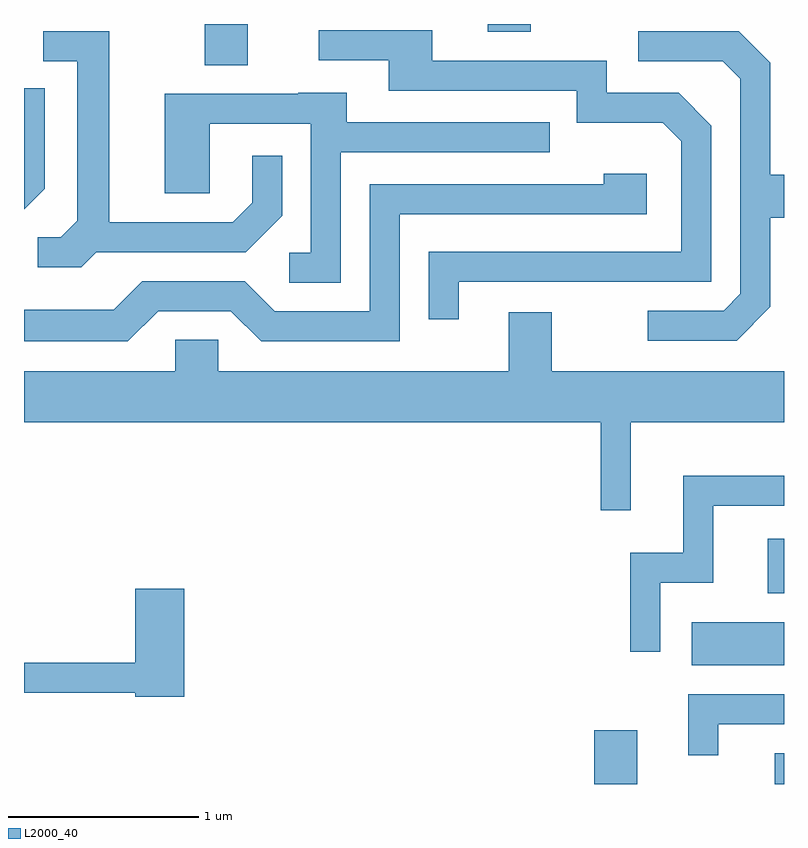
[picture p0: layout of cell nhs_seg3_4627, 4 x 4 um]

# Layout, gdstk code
import gdstk
lib = gdstk.Library(unit=1e-6, precision=1e-09)
def R(c, l, rs):  # rectangles x0, y0, x1, y1
    for r in rs: c.add(gdstk.rectangle(r[:2], r[2:], *l))
def P(c, l, *ps):  # polygons
    for p in ps: c.add(gdstk.Polygon(p, *l))
L2000_40 = (2000, 40)

nhs_seg3_4627 = lib.new_cell('nhs_seg3_4627')
R(nhs_seg3_4627, L2000_40, [(324.611,1121.892,324.839,1122.174), (325.561,1121.892,325.611,1122.054), (325.126,1122.516,325.611,1122.744), (325.526,1122.896,325.611,1123.184), (322.561,1125.676,322.789,1125.892), (324.051,1125.851,324.279,1125.892)])
P(nhs_seg3_4627, L2000_40, [(323.899,1124.536),(325.229,1124.536),(325.229,1125.357),(325.057,1125.529),(324.679,1125.529),(324.679,1125.699),(323.759,1125.699),(323.759,1125.859),(323.163,1125.859),(323.163,1125.701),(323.531,1125.701),(323.531,1125.541),(324.521,1125.541),(324.521,1125.371),(324.974,1125.371),(325.071,1125.274),(325.071,1124.694),(323.741,1124.694),(323.741,1124.338),(323.899,1124.338)],
  [(321.992,1124.691),(322.777,1124.691),(322.969,1124.884),(322.969,1125.198),(322.811,1125.198),(322.811,1124.952),(322.709,1124.849),(322.059,1124.849),(322.059,1125.854),(321.713,1125.854),(321.713,1125.696),(321.891,1125.696),(321.891,1124.857),(321.804,1124.769),(321.683,1124.769),(321.683,1124.611),(321.912,1124.611)],
  [(325.539,1124.404),(325.539,1124.871),(325.611,1124.871),(325.611,1125.099),(325.539,1125.099),(325.539,1125.687),(325.372,1125.854),(324.843,1125.854),(324.843,1125.696),(325.289,1125.696),(325.381,1125.604),(325.381,1124.472),(325.294,1124.384),(324.893,1124.384),(324.893,1124.226),(325.362,1124.226)],
  [(321.719,1125.024),(321.719,1125.553),(321.611,1125.553),(321.611,1124.916)],
  [(323.279,1125.216),(324.378,1125.216),(324.378,1125.374),(323.309,1125.374),(323.309,1125.529),(323.055,1125.529),(323.055,1125.524),(322.351,1125.524),(322.351,1125.001),(322.589,1125.001),(322.589,1125.366),(323.121,1125.366),(323.121,1124.689),(323.008,1124.689),(323.008,1124.531),(323.279,1124.531)],
  [(322.317,1124.381),(322.699,1124.381),(322.859,1124.221),(323.589,1124.221),(323.589,1124.891),(324.889,1124.891),(324.889,1125.104),(324.661,1125.104),(324.661,1125.049),(323.431,1125.049),(323.431,1124.379),(322.932,1124.379),(322.772,1124.539),(322.234,1124.539),(322.084,1124.389),(321.611,1124.389),(321.611,1124.221),(322.157,1124.221)],
  [(324.804,1123.796),(325.611,1123.796),(325.611,1124.064),(324.389,1124.064),(324.389,1124.374),(324.161,1124.374),(324.161,1124.064),(322.634,1124.064),(322.634,1124.229),(322.406,1124.229),(322.406,1124.064),(321.611,1124.064),(321.611,1123.796),(324.646,1123.796),(324.646,1123.333),(324.804,1123.333)],
  [(324.959,1122.951),(325.239,1122.951),(325.239,1123.356),(325.611,1123.356),(325.611,1123.514),(325.081,1123.514),(325.081,1123.109),(324.801,1123.109),(324.801,1122.588),(324.959,1122.588)],
  [(322.454,1122.919),(322.196,1122.919),(322.196,1122.529),(321.611,1122.529),(321.611,1122.371),(322.196,1122.371),(322.196,1122.351),(322.454,1122.351)],
  [(325.264,1122.206),(325.611,1122.206),(325.611,1122.364),(325.106,1122.364),(325.106,1122.043),(325.264,1122.043)])

lib.write_gds('nhs_seg3_4627.gds')
